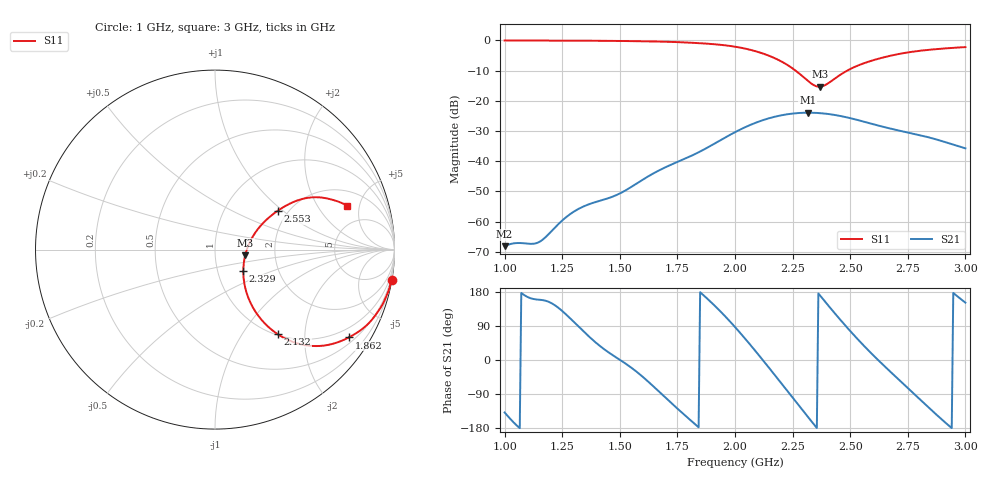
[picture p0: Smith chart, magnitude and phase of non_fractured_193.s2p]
! TOUCHSTONE file generated by CST MICROWAVE STUDIO
! Date and time: Sat Mar  8 13:55:20 2025
! Project name: non_fractured.cst
! Parameters = {B=2.5; D=160; F=15; Feed=2.85625; L=100; M=20; R=0.384908; S=1; Theta=0; length=57.125; wave=114.25}
! Header version: 2024
! Port assignment regex: !\s*Touchstone port\s*([0-9]+)\s*=\s*(CST MWS port|CST DES external port|CST DES block port)\s*(.+)\s* \(\"(.*)\"\)(\s*mode\s*([0-9]+))?.*
! Touchstone port assignment:
! Touchstone port 1 = CST MWS port 1 ("")
! Touchstone port 2 = CST MWS port 2 ("")
# GHz S DB R 50
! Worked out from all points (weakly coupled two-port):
!   305 points, 1 GHz to 3 GHz, reference 50 ohm
!   highest |S21| = -23.92 dB at 2.316 GHz (marker M1); lowest = -68.1 dB at 1 GHz (marker M2)
!   lowest |S11| = -15.3 dB at 2.368 GHz (marker M3), VSWR 1.41, Z = 70 - j4.74 ohm
!   |S11| at or under -10 dB: 2.263 GHz to 2.487 GHz (224 MHz wide, 9.43 % of centre)
!   S12 and S22 are empty: the file has one direction only
!   S11 on the Smith chart (normalised r, x): 1 GHz: 0, -12; 1.862 GHz: 0.67, -3.22; 2.132 GHz: 1.02, -1.46; 2.329 GHz: 1.33, -0.32; 2.553 GHz: 1.77, +0.92; 3 GHz: 3.06, +3.76
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1  -0.02 -9.8  -68.10 -138.5  -200.00 0.0  -200.00 0.0
1.03947  -0.02 -10.3  -67.17 -164.9  -200.00 0.0  -200.00 0.0
1.11842  -0.04 -11.4  -67.34 161.9  -200.00 0.0  -200.00 0.0
1.15132  -0.04 -11.9  -66.66 159.0  -200.00 0.0  -200.00 0.0
1.26316  -0.06 -13.8  -58.74 122.2  -200.00 0.0  -200.00 0.0
1.33553  -0.09 -15.2  -55.20 79.7  -200.00 0.0  -200.00 0.0
1.49342  -0.18 -18.8  -50.91 3.2  -200.00 0.0  -200.00 0.0
1.67105  -0.39 -24.3  -42.99 -83.8  -200.00 0.0  -200.00 0.0
1.86184  -0.99 -33.3  -36.25 171.7  -200.00 0.0  -200.00 0.0
2  -2.08 -43.0  -30.38 87.1  -200.00 0.0  -200.00 0.0
2.13158  -4.62 -53.4  -26.13 -8.4  -200.00 0.0  -200.00 0.0
2.22368  -7.95 -56.9  -24.48 -78.9  -200.00 0.0  -200.00 0.0
2.31579  -13.35 -42.5  -23.92 -149.6  -200.00 0.0  -200.00 0.0
2.32895  -14.15 -36.4  -23.93 -159.6  -200.00 0.0  -200.00 0.0
2.33553  -14.50 -32.9  -23.94 -164.5  -200.00 0.0  -200.00 0.0
2.36842  -15.33 -11.1  -24.07 170.7  -200.00 0.0  -200.00 0.0
2.39474  -14.65 5.8  -24.26 151.2  -200.00 0.0  -200.00 0.0
2.45395  -11.53 25.6  -24.96 108.4  -200.00 0.0  -200.00 0.0
2.55263  -7.75 31.8  -26.76 41.9  -200.00 0.0  -200.00 0.0
2.67105  -5.14 30.4  -29.13 -29.1  -200.00 0.0  -200.00 0.0
2.82237  -3.26 24.5  -31.73 -115.1  -200.00 0.0  -200.00 0.0
3  -2.22 18.5  -35.72 151.3  -200.00 0.0  -200.00 0.0
